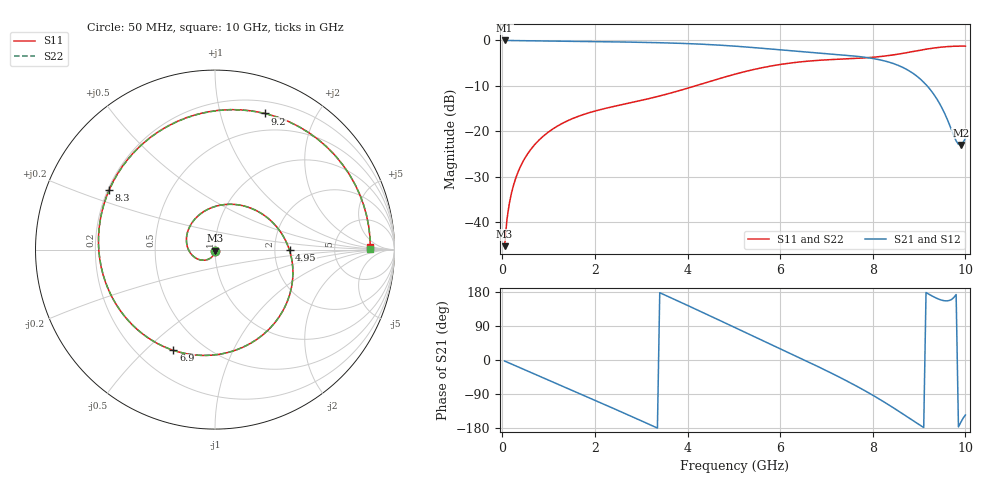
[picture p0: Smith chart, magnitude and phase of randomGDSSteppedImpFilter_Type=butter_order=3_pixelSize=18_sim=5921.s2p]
! freq	dB(S11)	phase(S11)	dB(S12)	phase(S12)
!  dB(S21)	phase(S21)	dB(S22)	phase(S22)
!S-par simulation data
#  GHz  S  DB  R 50
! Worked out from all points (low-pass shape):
!   200 points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, 50 MHz to 10 GHz, reference 50 ohm
!   highest |S21| = 0.00 dB at 50 MHz (marker M1); lowest = -23.0 dB at 9.9 GHz (marker M2)
!   |S21| within 3 dB of the highest: start of sweep to 7.124 GHz
!   lowest |S11| = -45.3 dB at 50 MHz (marker M3), VSWR 1.01, Z = 50 - j0.544 ohm
!   |S11| at or under -10 dB: start of sweep to 4.169 GHz
!   |S22| runs from -45.3 to -1.2 dB; largest |S21 - S12| = 0
!   S11 on the Smith chart (normalised r, x): 50 MHz: 1.00, -0.01; 4.95 GHz: 2.42, -0.03; 6.9 GHz: 0.34, -0.61; 8.3 GHz: 0.21, +0.25; 9.2 GHz: 0.32, +1.38; 10 GHz: 14, +1
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0.05  -45.28 -89.3  -0.00 -2.7  -0.00 -2.7  -45.28 -89.3
0.1  -39.45 -93.4  -0.01 -5.4  -0.01 -5.4  -39.45 -93.4
0.2  -33.51 -99.9  -0.02 -10.7  -0.02 -10.7  -33.51 -99.9
0.5  -25.71 -117.0  -0.05 -26.7  -0.05 -26.7  -25.71 -117.0
1.15  -19.10 -152.1  -0.13 -61.2  -0.13 -61.2  -19.10 -152.1
1.75  -16.31 175.8  -0.21 -93.0  -0.21 -93.0  -16.31 175.8
2.65  -13.98 127.5  -0.35 -141.3  -0.35 -141.3  -13.98 127.4
3.4  -12.22 86.4  -0.51 177.6  -0.51 177.6  -12.22 86.3
4.25  -9.75 39.0  -0.80 129.9  -0.80 129.9  -9.75 38.9
4.95  -7.63 -0.6  -1.21 89.9  -1.21 89.9  -7.63 -0.7
5.05  -7.36 -6.3  -1.28 84.1  -1.28 84.1  -7.36 -6.4
5.9  -5.46 -54.5  -1.98 35.5  -1.98 35.5  -5.46 -54.7
6.7  -4.47 -100.6  -2.67 -10.5  -2.67 -10.5  -4.48 -100.8
6.9  -4.33 -112.5  -2.83 -22.3  -2.83 -22.3  -4.33 -112.7
7.65  -3.95 -160.5  -3.48 -69.0  -3.48 -69.0  -3.95 -160.9
8.3  -3.38 150.5  -4.63 -115.0  -4.63 -115.0  -3.39 149.9
8.35  -3.32 146.4  -4.77 -118.8  -4.77 -118.8  -3.32 145.8
8.85  -2.48 102.3  -7.11 -158.4  -7.11 -158.4  -2.48 101.6
9.2  -1.85 69.9  -10.31 174.5  -10.31 174.5  -1.85 69.2
9.55  -1.41 38.1  -16.02 156.3  -16.02 156.3  -1.40 37.4
9.9  -1.25 8.7  -22.98 -164.6  -22.98 -164.6  -1.25 8.1
10  -1.26 0.9  -21.52 -145.2  -21.52 -145.2  -1.25 0.3
